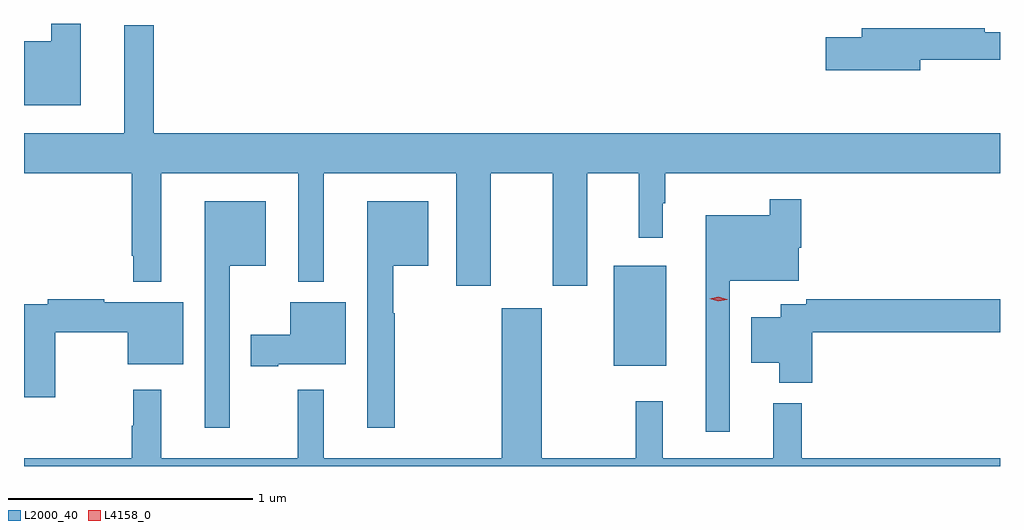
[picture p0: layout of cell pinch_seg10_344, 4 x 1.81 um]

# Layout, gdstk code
import gdstk
lib = gdstk.Library(unit=1e-6, precision=1e-09)
def R(c, l, rs):  # rectangles x0, y0, x1, y1
    for r in rs: c.add(gdstk.rectangle(r[:2], r[2:], *l))
def P(c, l, *ps):  # polygons
    for p in ps: c.add(gdstk.Polygon(p, *l))
L2000_40 = (2000, 40)
L4158_0 = (4158, 0)

pinch_seg10_344 = lib.new_cell('pinch_seg10_344')
R(pinch_seg10_344, L2000_40, [(443.966,1248.911,444.181,1249.321)])
P(pinch_seg10_344, L2000_40, [(441.781,1250.313),(441.66,1250.313),(441.66,1250.242),(441.549,1250.242),(441.549,1249.979),(441.781,1249.979)],
  [(443.461,1249.7),(443.717,1249.7),(443.717,1249.239),(443.857,1249.239),(443.857,1249.7),(444.068,1249.7),(444.068,1249.437),(444.166,1249.437),(444.166,1249.577),(444.178,1249.577),(444.178,1249.7),(445.549,1249.7),(445.549,1249.864),(442.081,1249.864),(442.081,1250.308),(441.959,1250.308),(441.959,1249.864),(441.549,1249.864),(441.549,1249.7),(441.99,1249.7),(441.99,1249.363),(441.996,1249.363),(441.996,1249.256),(442.111,1249.256),(442.111,1249.7),(442.673,1249.7),(442.673,1249.256),(442.777,1249.256),(442.777,1249.7),(443.321,1249.7),(443.321,1249.239),(443.461,1249.239)],
  [(445.222,1250.166),(445.549,1250.166),(445.549,1250.279),(445.487,1250.279),(445.487,1250.294),(444.983,1250.294),(444.983,1250.258),(444.834,1250.258),(444.834,1250.123),(445.222,1250.123)],
  [(444.441,1249.259),(444.724,1249.259),(444.724,1249.395),(444.734,1249.395),(444.734,1249.594),(444.606,1249.594),(444.606,1249.528),(444.344,1249.528),(444.344,1248.642),(444.441,1248.642)],
  [(442.393,1249.322),(442.54,1249.322),(442.54,1249.585),(442.289,1249.585),(442.289,1248.657),(442.393,1248.657)],
  [(443.069,1249.126),(443.062,1249.126),(443.062,1249.322),(443.206,1249.322),(443.206,1249.585),(442.955,1249.585),(442.955,1248.657),(443.069,1248.657)],
  [(444.779,1249.048),(445.549,1249.048),(445.549,1249.184),(444.754,1249.184),(444.754,1249.164),(444.65,1249.164),(444.65,1249.111),(444.53,1249.111),(444.53,1248.923),(444.644,1248.923),(444.644,1248.842),(444.779,1248.842)],
  [(441.678,1249.048),(441.974,1249.048),(441.974,1248.917),(442.201,1248.917),(442.201,1249.171),(441.878,1249.171),(441.878,1249.184),(441.646,1249.184),(441.646,1249.164),(441.549,1249.164),(441.549,1248.783),(441.678,1248.783)],
  [(442.591,1248.917),(442.867,1248.917),(442.867,1249.171),(442.64,1249.171),(442.64,1249.039),(442.479,1249.039),(442.479,1248.91),(442.591,1248.91)],
  [(445.549,1248.532),(444.737,1248.532),(444.737,1248.757),(444.62,1248.757),(444.62,1248.532),(444.167,1248.532),(444.167,1248.766),(444.057,1248.766),(444.057,1248.532),(443.671,1248.532),(443.671,1249.147),(443.507,1249.147),(443.507,1248.532),(442.777,1248.532),(442.777,1248.814),(442.671,1248.814),(442.671,1248.532),(442.111,1248.532),(442.111,1248.814),(441.997,1248.814),(441.997,1248.665),(441.99,1248.665),(441.99,1248.532),(441.549,1248.532),(441.549,1248.5),(445.549,1248.5)])
P(pinch_seg10_344, L4158_0, [(444.394,1249.175),(444.359,1249.186),(444.359,1249.186),(444.359,1249.186),(444.395,1249.195),(444.431,1249.184),(444.431,1249.184),(444.431,1249.183)])

lib.write_gds('pinch_seg10_344.gds')
